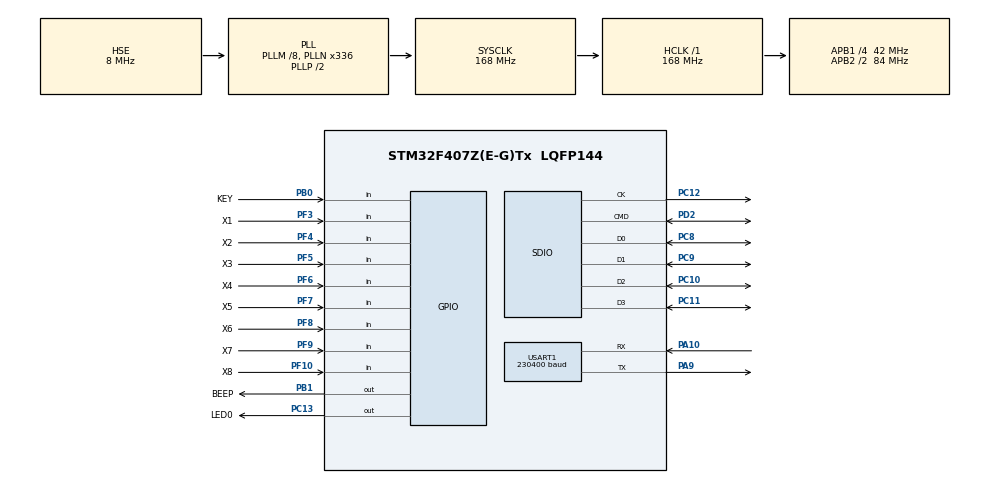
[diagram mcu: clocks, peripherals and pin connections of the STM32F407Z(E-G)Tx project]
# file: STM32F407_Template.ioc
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Dma.Request0=SDIO_RX
Dma.Request1=SDIO_TX
Dma.Request2=USART1_RX
Dma.Request3=USART1_TX
Dma.SDIO_RX.0.Direction=DMA_PERIPH_TO_MEMORY
Dma.SDIO_RX.0.FIFOMode=DMA_FIFOMODE_ENABLE
Dma.SDIO_RX.0.FIFOThreshold=DMA_FIFO_THRESHOLD_FULL
Dma.SDIO_RX.0.Instance=DMA2_Stream3
Dma.SDIO_RX.0.MemBurst=DMA_MBURST_INC4
Dma.SDIO_RX.0.MemDataAlignment=DMA_MDATAALIGN_WORD
Dma.SDIO_RX.0.MemInc=DMA_MINC_ENABLE
Dma.SDIO_RX.0.Mode=DMA_PFCTRL
Dma.SDIO_RX.0.PeriphBurst=DMA_PBURST_INC4
Dma.SDIO_RX.0.PeriphDataAlignment=DMA_PDATAALIGN_WORD
Dma.SDIO_RX.0.PeriphInc=DMA_PINC_DISABLE
Dma.SDIO_RX.0.Priority=DMA_PRIORITY_VERY_HIGH
Dma.SDIO_TX.1.Direction=DMA_MEMORY_TO_PERIPH
Dma.SDIO_TX.1.FIFOMode=DMA_FIFOMODE_ENABLE
Dma.SDIO_TX.1.FIFOThreshold=DMA_FIFO_THRESHOLD_FULL
Dma.SDIO_TX.1.Instance=DMA2_Stream6
Dma.SDIO_TX.1.MemBurst=DMA_MBURST_INC4
Dma.SDIO_TX.1.MemDataAlignment=DMA_MDATAALIGN_WORD
Dma.SDIO_TX.1.MemInc=DMA_MINC_ENABLE
Dma.SDIO_TX.1.Mode=DMA_PFCTRL
Dma.SDIO_TX.1.PeriphBurst=DMA_PBURST_INC4
Dma.SDIO_TX.1.PeriphDataAlignment=DMA_PDATAALIGN_WORD
Dma.SDIO_TX.1.PeriphInc=DMA_PINC_DISABLE
Dma.SDIO_TX.1.Priority=DMA_PRIORITY_VERY_HIGH
Dma.USART1_RX.2.Direction=DMA_PERIPH_TO_MEMORY
Dma.USART1_RX.2.FIFOMode=DMA_FIFOMODE_DISABLE
Dma.USART1_RX.2.Instance=DMA2_Stream2
Dma.USART1_RX.2.MemDataAlignment=DMA_MDATAALIGN_BYTE
Dma.USART1_RX.2.MemInc=DMA_MINC_ENABLE
Dma.USART1_RX.2.Mode=DMA_CIRCULAR
Dma.USART1_RX.2.PeriphDataAlignment=DMA_PDATAALIGN_BYTE
Dma.USART1_RX.2.PeriphInc=DMA_PINC_DISABLE
Dma.USART1_RX.2.Priority=DMA_PRIORITY_LOW
Dma.USART1_TX.3.Direction=DMA_MEMORY_TO_PERIPH
Dma.USART1_TX.3.FIFOMode=DMA_FIFOMODE_DISABLE
Dma.USART1_TX.3.Instance=DMA2_Stream7
Dma.USART1_TX.3.MemDataAlignment=DMA_MDATAALIGN_BYTE
Dma.USART1_TX.3.MemInc=DMA_MINC_ENABLE
Dma.USART1_TX.3.Mode=DMA_NORMAL
Dma.USART1_TX.3.PeriphDataAlignment=DMA_PDATAALIGN_BYTE
Dma.USART1_TX.3.PeriphInc=DMA_PINC_DISABLE
Dma.USART1_TX.3.Priority=DMA_PRIORITY_LOW
FATFS.USE_DMA_CODE_SD=1
FATFS._FS_LOCK=3
FATFS._USE_MKFS=0
Mcu.Family=STM32F4
Mcu.Name=STM32F407Z(E-G)Tx
Mcu.Package=LQFP144
NVIC.DMA2_Stream2_IRQn=true\:0\:0\:false\:false\:true\:false\:true\:true
NVIC.DMA2_Stream3_IRQn=true\:5\:0\:false\:false\:true\:false\:true\:true
NVIC.DMA2_Stream6_IRQn=true\:5\:0\:false\:false\:true\:false\:true\:true
NVIC.DMA2_Stream7_IRQn=true\:0\:0\:false\:false\:true\:false\:true\:true
NVIC.PriorityGroup=NVIC_PRIORITYGROUP_4
NVIC.SDIO_IRQn=true\:6\:0\:false\:false\:true\:false\:true\:true
NVIC.USART1_IRQn=true\:0\:0\:false\:false\:true\:true\:true\:true
PA10.Mode=Asynchronous
PA10.Signal=USART1_RX
PA13.Mode=Serial_Wire
PA13.Signal=SYS_JTMS-SWDIO
PA14.Mode=Serial_Wire
PA14.Signal=SYS_JTCK-SWCLK
PA9.Mode=Asynchronous
PA9.Signal=USART1_TX
PB0.GPIO_Label=KEY
PB0.GPIO_PuPd=GPIO_PULLDOWN
PB0.Signal=GPIO_Input
PB1.GPIO_Label=BEEP
PB1.GPIO_PuPd=GPIO_NOPULL
PB1.GPIO_Speed=GPIO_SPEED_FREQ_LOW
PB1.GPIO_State=GPIO_PIN_SET
PB1.Signal=GPIO_Output
PC10.Mode=SD_4_bits_Wide_bus
PC10.Signal=SDIO_D2
PC11.Mode=SD_4_bits_Wide_bus
PC11.Signal=SDIO_D3
PC12.Mode=SD_4_bits_Wide_bus
PC12.Signal=SDIO_CK
PC13-ANTI_TAMP.GPIO_Label=LED0
PC13-ANTI_TAMP.Signal=GPIO_Output
PC14-OSC32_IN.Mode=LSE-External-Oscillator
PC14-OSC32_IN.Signal=RCC_OSC32_IN
PC15-OSC32_OUT.Mode=LSE-External-Oscillator
PC15-OSC32_OUT.Signal=RCC_OSC32_OUT
PC8.Mode=SD_4_bits_Wide_bus
PC8.Signal=SDIO_D0
PC9.Mode=SD_4_bits_Wide_bus
PC9.Signal=SDIO_D1
PD2.Mode=SD_4_bits_Wide_bus
PD2.Signal=SDIO_CMD
PF10.GPIO_Label=X8
PF10.Signal=GPIO_Input
PF3.GPIO_Label=X1
PF3.Signal=GPIO_Input
PF4.GPIO_Label=X2
PF4.Signal=GPIO_Input
PF5.GPIO_Label=X3
PF5.Signal=GPIO_Input
PF6.GPIO_Label=X4
PF6.Signal=GPIO_Input
PF7.GPIO_Label=X5
PF7.Signal=GPIO_Input
PF8.GPIO_Label=X6
PF8.Signal=GPIO_Input
PF9.GPIO_Label=X7
PF9.Signal=GPIO_Input
PH0-OSC_IN.Mode=HSE-External-Oscillator
PH0-OSC_IN.Signal=RCC_OSC_IN
PH1-OSC_OUT.Mode=HSE-External-Oscillator
PH1-OSC_OUT.Signal=RCC_OSC_OUT
ProjectManager.HeapSize=0x200
ProjectManager.StackSize=0x400
ProjectManager.TargetToolchain=CMake
RCC.48MHZClocksFreq_Value=48000000
RCC.AHBFreq_Value=168000000
RCC.APB1CLKDivider=RCC_HCLK_DIV4
RCC.APB1Freq_Value=42000000
RCC.APB1TimFreq_Value=84000000
RCC.APB2CLKDivider=RCC_HCLK_DIV2
RCC.APB2Freq_Value=84000000
RCC.APB2TimFreq_Value=168000000
RCC.CortexFreq_Value=168000000
RCC.HCLKFreq_Value=168000000
RCC.HSE_VALUE=8000000
RCC.HSI_VALUE=16000000
RCC.PLLM=8
RCC.PLLN=336
RCC.PLLQ=7
RCC.PLLSourceVirtual=RCC_PLLSOURCE_HSE
RCC.RCC_RTC_Clock_Source=RCC_RTCCLKSOURCE_LSE
RCC.RCC_RTC_Clock_SourceVirtual=RCC_RTCCLKSOURCE_LSE
RCC.SYSCLKFreq_VALUE=168000000
RCC.SYSCLKSource=RCC_SYSCLKSOURCE_PLLCLK
RCC.VCOOutputFreq_Value=336000000
RTC.Date=17
RTC.Format=RTC_FORMAT_BIN
RTC.Hours=22
RTC.Minutes=39
RTC.Month=RTC_MONTH_JULY
RTC.WeekDay=RTC_WEEKDAY_FRIDAY
RTC.Year=26
SDIO.ClockDiv=0
USART1.BaudRate=230400
USART1.VirtualMode=VM_ASYNC
VP_FATFS_VS_SDIO.Mode=SDIO
VP_RTC_VS_RTC_Activate.Mode=RTC_Enabled
VP_RTC_VS_RTC_Calendar.Mode=RTC_Calendar
board=custom

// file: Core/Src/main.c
/* USER CODE BEGIN Header */
/**
  ******************************************************************************
  * @file           : main.c
  * @brief          : Main program body
  ******************************************************************************
  * @attention
  *
  * Copyright (c) 2026 STMicroelectronics.
  * All rights reserved.
  *
  * This software is licensed under terms that can be found in the LICENSE file
  * in the root directory of this software component.
  * If no LICENSE file comes with this software, it is provided AS-IS.
  *
  ******************************************************************************
  */
/* USER CODE END Header */
#include "main.h"
#include "dma.h"
#include "fatfs.h"
#include "rtc.h"
#include "sdio.h"
#include "usart.h"
#include "gpio.h"

/* USER CODE BEGIN Includes */
#include "beep.h"
#include "button.h"
#include "linetrack.h"
#include "sd_log.h"
#include "wt901.h"

/* USER CODE END Includes */

/* USER CODE BEGIN PV */
static bool s_system_running; // 系统是否在运行

/* USER CODE END PV */

void SystemClock_Config(void);

int main(void)
{

  /* MCU Configuration--------------------------------------------------------*/

  /* Reset of all peripherals, Initializes the Flash interface and the Systick. */
  HAL_Init();

  /* Configure the system clock */
  SystemClock_Config();

  /* Initialize all configured peripherals */
  MX_DMA_Init();
  MX_GPIO_Init();
  MX_SDIO_SD_Init();
  MX_RTC_Init();
  MX_USART1_UART_Init();
  MX_FATFS_Init();
  /* USER CODE BEGIN 2 */

    BEEP_Init(); // 初始化蜂鸣器
    if (WT901_Init() == HAL_OK) // 初始化 IMU
    {
        BEEP_Once(); // 初始化成功则蜂鸣一次
    }

  /* USER CODE END 2 */

  /* Infinite loop */
  /* USER CODE BEGIN WHILE */
    while (1)
    {
        BEEP_Update();

        if (Button_Scan())
        {
            if (!s_system_running)
            {
                if ((SD_Log_AppStart() == FR_OK) && (WT901_StartReceive() == HAL_OK))
                {
                    s_system_running = true;
                    (void)SD_Log_AppEvent("Button start: WT901=on; beep=fast-1");
                    BEEP_Fast(1U);
                }
                else
                {
                    (void)WT901_StopReceive();
                    (void)SD_Log_AppStop();
                    BEEP_Slow(2U);
                }
            }
            else
            {
                (void)WT901_StopReceive();
                s_system_running = false;
                if (SD_Log_AppStop() == FR_OK)
                {
                    BEEP_Slow(2U);
                }
                else
                {
                    BEEP_Slow(3U);
                }
            }
        }

        if (s_system_running)
        {
            LINE_Result_t line = LINE_Process();
            (void)WT901_AnalyzeData();
            SD_Log_AppProcess(&line);
        }

    /* USER CODE END WHILE */

    }
}

void SystemClock_Config(void)
{
  RCC_OscInitTypeDef RCC_OscInitStruct = {0};
  RCC_ClkInitTypeDef RCC_ClkInitStruct = {0};

  /** Configure the main internal regulator output voltage
  */
  __HAL_RCC_PWR_CLK_ENABLE();
  __HAL_PWR_VOLTAGESCALING_CONFIG(PWR_REGULATOR_VOLTAGE_SCALE1);

  /** Initializes the RCC Oscillators according to the specified parameters
  * in the RCC_OscInitTypeDef structure.
  */
  RCC_OscInitStruct.OscillatorType = RCC_OSCILLATORTYPE_HSE|RCC_OSCILLATORTYPE_LSE;
  RCC_OscInitStruct.HSEState = RCC_HSE_ON;
  RCC_OscInitStruct.LSEState = RCC_LSE_ON;
  RCC_OscInitStruct.PLL.PLLState = RCC_PLL_ON;
  RCC_OscInitStruct.PLL.PLLSource = RCC_PLLSOURCE_HSE;
  RCC_OscInitStruct.PLL.PLLM = 8;
  RCC_OscInitStruct.PLL.PLLN = 336;
  RCC_OscInitStruct.PLL.PLLP = RCC_PLLP_DIV2;
  RCC_OscInitStruct.PLL.PLLQ = 7;
  if (HAL_RCC_OscConfig(&RCC_OscInitStruct) != HAL_OK)
  {
    Error_Handler();
  }

  /** Initializes the CPU, AHB and APB buses clocks
  */
  RCC_ClkInitStruct.ClockType = RCC_CLOCKTYPE_HCLK|RCC_CLOCKTYPE_SYSCLK
                              |RCC_CLOCKTYPE_PCLK1|RCC_CLOCKTYPE_PCLK2;
  RCC_ClkInitStruct.SYSCLKSource = RCC_SYSCLKSOURCE_PLLCLK;
  RCC_ClkInitStruct.AHBCLKDivider = RCC_SYSCLK_DIV1;
  RCC_ClkInitStruct.APB1CLKDivider = RCC_HCLK_DIV4;
  RCC_ClkInitStruct.APB2CLKDivider = RCC_HCLK_DIV2;

  if (HAL_RCC_ClockConfig(&RCC_ClkInitStruct, FLASH_LATENCY_5) != HAL_OK)
  {
    Error_Handler();
  }
}

void Error_Handler(void)
{
    __disable_irq();
    while (1)
    {
    }
}
